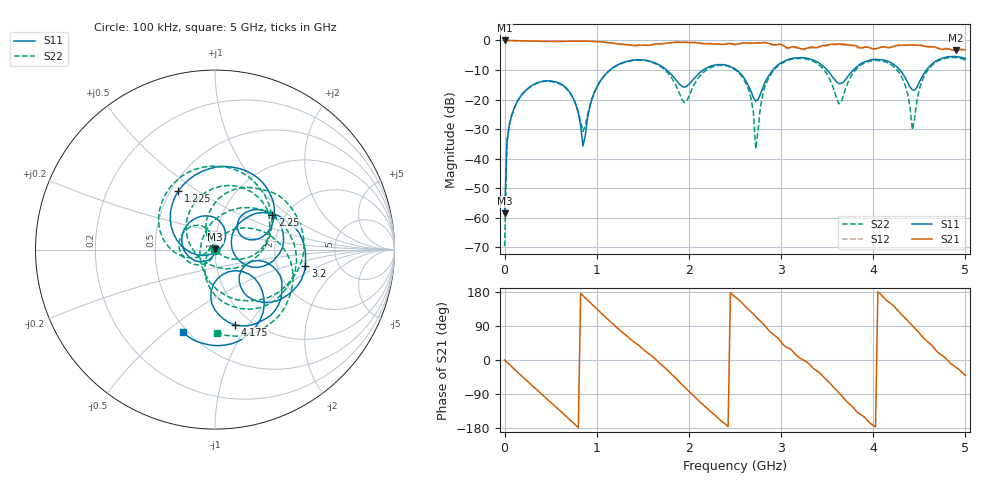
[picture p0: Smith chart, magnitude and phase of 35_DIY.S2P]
!Agilent Technologies,E5071C,MY46101917,A.08.10
!Date: Mon Jan 01 05:52:47 2001
!Data & Calibration Information:
!Freq	S11:SOLT2(ON)	S21:SOLT2(ON)	S12:SOLT2(ON)	S22:SOLT2(ON)
# Hz S dB R 50
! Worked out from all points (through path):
!   201 points, 100 kHz to 5 GHz, reference 50 ohm
!   highest |S21| = 0.00 dB at 100 kHz (marker M1); lowest = -3.4 dB at 4.9 GHz (marker M2)
!   group delay of S21, straight-line fit = 622 ps
!   lowest |S11| = -58.5 dB at 100 kHz (marker M3), VSWR 1.00, Z = 50.1 + j0.0992 ohm
!   |S11| at or under -10 dB: start of sweep to 1.143 GHz; 1.758 GHz to 2.156 GHz (398.5 MHz wide, 20.4 % of centre); 2.517 GHz to 2.91 GHz (393.6 MHz wide, 14.5 % of centre)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
!   |S22| runs from -69.6 to -5.8 dB; largest |S21 - S12| = 0.054
!   S11 on the Smith chart (normalised r, x): 100 kHz: 1.00, +0.00; 1.225 GHz: 0.55, +0.42; 2.25 GHz: 1.72, +0.77; 3.2 GHz: 2.90, -0.70; 4.175 GHz: 0.84, -0.87; 5 GHz: 0.47, -0.58
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100000  -58.51 56.5  -0.00 -0.0  -0.00 -0.0  -69.59 -136.3
2.50995e7  -34.40 -99.2  -0.01 -5.8  -0.01 -5.8  -34.51 -98.5
1.50097e8  -19.97 -137.3  -0.09 -34.2  -0.08 -34.2  -20.02 -127.0
6.250875e8  -14.98 90.6  -0.32 -138.9  -0.31 -139.1  -15.15 129.5
8.50083e8  -35.72 -28.3  -0.25 170.0  -0.25 170.0  -30.76 144.6
9.750805e8  -17.53 -172.2  -0.36 140.9  -0.35 140.9  -17.45 -159.5
1.225076e9  -8.30 122.2  -1.11 84.0  -1.13 84.6  -8.41 144.5
1.675066e9  -8.24 31.2  -1.15 -7.0  -1.13 -7.0  -8.50 34.1
1.950061e9  -15.81 33.6  -0.61 -70.8  -0.62 -70.8  -21.08 -113.6
2.250055e9  -8.56 31.2  -1.19 -139.1  -0.98 -139.8  -9.00 84.6
2.50005e9  -9.62 -10.9  -1.29 166.4  -1.51 166.3  -9.85 18.7
2.675046e9  -17.33 -22.0  -0.94 126.8  -1.00 126.1  -19.76 -30.6
2.725046e9  -20.51 5.2  -0.80 114.8  -0.86 114.9  -36.65 -51.9
2.850043e9  -12.75 46.2  -0.81 82.7  -0.93 80.7  -13.71 99.4
3.200036e9  -5.83 -10.1  -2.67 5.9  -2.97 5.4  -6.06 10.7
3.350033e9  -6.66 -35.4  -2.31 -22.2  -2.49 -21.5  -7.07 -27.5
3.675026e9  -14.11 -23.2  -1.25 -99.5  -1.57 -98.4  -18.73 116.9
4.175016e9  -7.24 -75.0  -2.43 151.5  -2.44 153.4  -7.82 -53.4
4.425012e9  -16.76 -73.4  -1.53 90.2  -1.47 91.4  -30.21 175.3
4.575008e9  -10.05 -38.2  -2.08 51.3  -1.98 53.0  -10.81 20.4
4.900002e9  -5.47 -93.1  -3.39 -19.2  -3.11 -17.5  -5.82 -64.4
5e9  -6.13 -111.2  -3.21 -41.0  -3.15 -40.6  -6.69 -88.6
